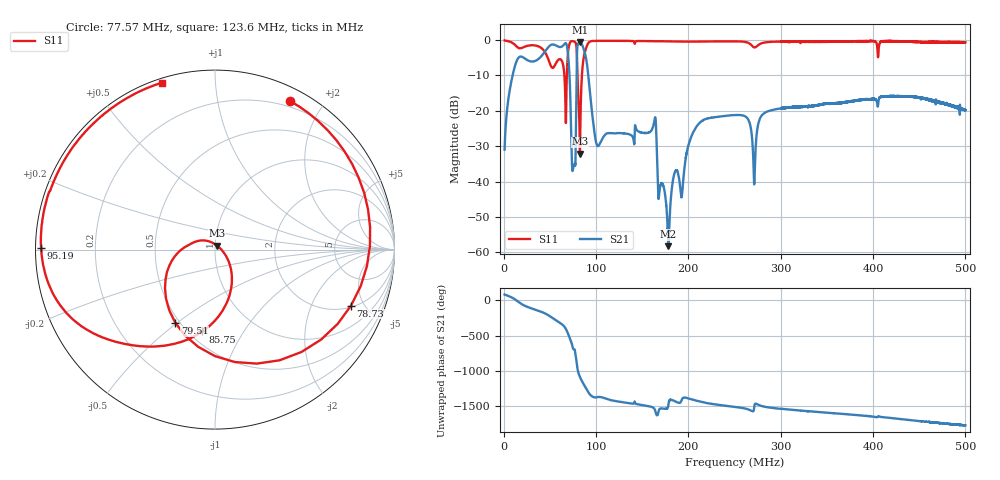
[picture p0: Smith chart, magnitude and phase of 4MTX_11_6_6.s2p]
! NanoVNA-App
! Date: 2026-08-18 21:36:25
! Start: 1MHz Stop: 500MHz Points: 6401
! S-Parameter data: F S11 S21 S12 S22
# Hz S RI R 50
!  Frequency  S11_Real  S11_Imag  S21_Real  S21_Imag  S12_Real  S12_Imag  S22_Real  S22_Imag
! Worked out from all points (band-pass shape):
!   6401 points, 1 MHz to 500 MHz, reference 50 ohm
!   highest |S21| = -0.66 dB at 82.48 MHz (marker M1); lowest = -58.3 dB at 178.5 MHz (marker M2)
!   |S21| within 3 dB of the highest: 43.49 MHz to 69.51 MHz (26.02 MHz wide, 46.1 % of centre); 79.41 MHz to 87.92 MHz (8.506 MHz wide, 10.2 % of centre)
!   lowest |S11| = -32.1 dB at 82.56 MHz (marker M3), VSWR 1.05, Z = 51.1 + j2.23 ohm
!   |S11| at or under -10 dB: 65.72 MHz to 68.39 MHz (2.672 MHz wide, 3.98 % of centre); 79.84 MHz to 84.72 MHz (4.875 MHz wide, 5.93 % of centre)
!   S12 and S22 are empty: the file has one direction only
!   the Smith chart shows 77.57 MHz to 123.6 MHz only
!   S11 on the Smith chart (normalised r, x): 77.57 MHz: 0.14, +1.62; 78.73 MHz: 2.11, -4.00; 79.51 MHz: 0.47, -0.49; 85.75 MHz: 0.58, -0.67; 95.19 MHz: 0.02, +0.01; 123.6 MHz: 0.02, +0.73
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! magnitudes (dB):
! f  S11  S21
! 1 MHz  -0.1  -31.0
! 14.8 MHz  -2.0  -5.5
! 52.69 MHz  -7.8  -1.2
! 67.82 MHz  -16.3  -1.1
! 75.23 MHz  -0.3  -36.3
! 77.57 MHz  -0.7  -35.5
! 78.73 MHz  -1.7  -12.9
! 79.51 MHz  -6.7  -3.0
! 82.48 MHz  -31.0  -0.7
! 82.56 MHz  -32.1  -0.7
! 84.19 MHz  -12.6  -1.0
! 85.75 MHz  -6.7  -1.8
! 95.19 MHz  -0.3  -19.3
! 123.6 MHz  -0.2  -26.3
! 162.8 MHz  -0.3  -23.4
! 167.4 MHz  -0.3  -44.2
! 178.5 MHz  -0.3  -58.3
! 207.9 MHz  -0.4  -24.9
! 250.5 MHz  -0.4  -21.2
! 333.7 MHz  -0.5  -18.7
! 416.9 MHz  -0.3  -15.8
! 500 MHz  -0.6  -19.7
